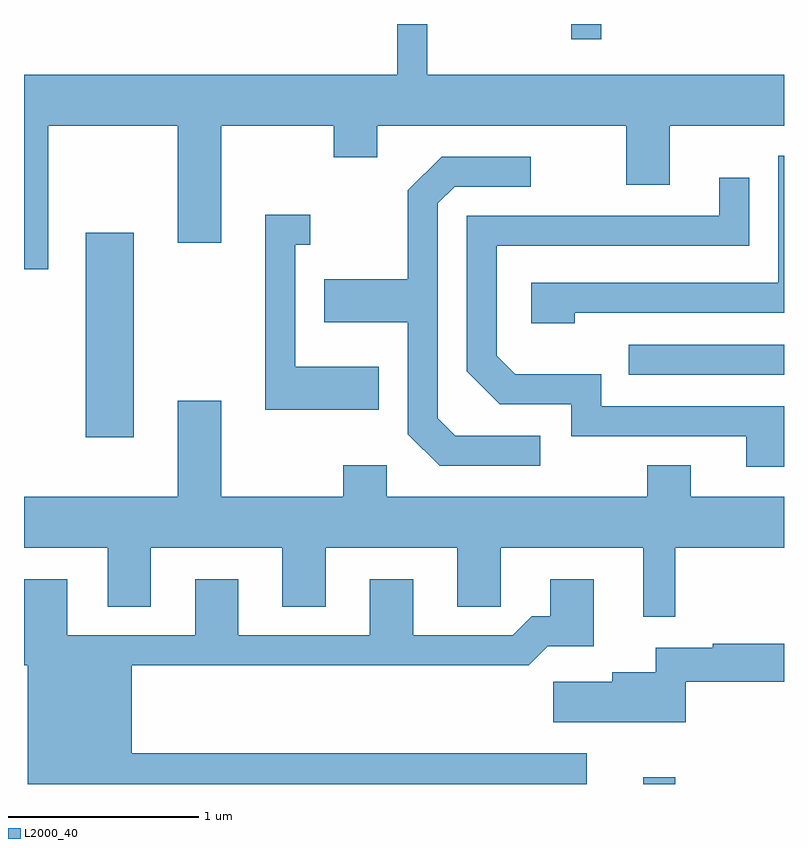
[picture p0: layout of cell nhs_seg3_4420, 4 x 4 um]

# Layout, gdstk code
import gdstk
lib = gdstk.Library(unit=1e-6, precision=1e-09)
def R(c, l, rs):  # rectangles x0, y0, x1, y1
    for r in rs: c.add(gdstk.rectangle(r[:2], r[2:], *l))
def P(c, l, *ps):  # polygons
    for p in ps: c.add(gdstk.Polygon(p, *l))
L2000_40 = (2000, 40)

nhs_seg3_4420 = lib.new_cell('nhs_seg3_4420')
R(nhs_seg3_4420, L2000_40, [(318.871,1115.892,319.039,1115.928), (315.936,1117.716,316.189,1118.794), (318.793,1118.046,319.611,1118.204), (318.491,1119.813,318.649,1119.892)])
P(nhs_seg3_4420, L2000_40, [(315.739,1119.356),(316.421,1119.356),(316.421,1118.741),(316.649,1118.741),(316.649,1119.356),(317.241,1119.356),(317.241,1119.191),(317.469,1119.191),(317.469,1119.356),(318.781,1119.356),(318.781,1119.046),(319.009,1119.046),(319.009,1119.356),(319.611,1119.356),(319.611,1119.624),(317.734,1119.624),(317.734,1119.892),(317.576,1119.892),(317.576,1119.624),(315.611,1119.624),(315.611,1118.601),(315.739,1118.601)],
  [(318.509,1118.371),(319.611,1118.371),(319.611,1119.199),(319.581,1119.199),(319.581,1118.529),(318.281,1118.529),(318.281,1118.316),(318.509,1118.316)],
  [(318.328,1117.724),(317.882,1117.724),(317.789,1117.817),(317.789,1118.949),(317.877,1119.036),(318.278,1119.036),(318.278,1119.194),(317.809,1119.194),(317.631,1119.017),(317.631,1118.549),(317.191,1118.549),(317.191,1118.321),(317.631,1118.321),(317.631,1117.734),(317.799,1117.566),(318.328,1117.566)],
  [(319.611,1117.879),(318.649,1117.879),(318.649,1118.049),(318.197,1118.049),(318.099,1118.147),(318.099,1118.726),(319.429,1118.726),(319.429,1119.083),(319.271,1119.083),(319.271,1118.884),(317.941,1118.884),(317.941,1118.064),(318.114,1117.891),(318.491,1117.891),(318.491,1117.721),(319.411,1117.721),(319.411,1117.561),(319.611,1117.561)],
  [(317.479,1118.089),(317.039,1118.089),(317.039,1118.731),(317.118,1118.731),(317.118,1118.889),(316.881,1118.889),(316.881,1117.861),(317.479,1117.861)],
  [(319.039,1117.136),(319.611,1117.136),(319.611,1117.404),(319.119,1117.404),(319.119,1117.569),(318.891,1117.569),(318.891,1117.404),(317.519,1117.404),(317.519,1117.569),(317.291,1117.569),(317.291,1117.404),(316.649,1117.404),(316.649,1117.909),(316.421,1117.909),(316.421,1117.404),(315.611,1117.404),(315.611,1117.136),(316.051,1117.136),(316.051,1116.826),(316.279,1116.826),(316.279,1117.136),(316.971,1117.136),(316.971,1116.826),(317.199,1116.826),(317.199,1117.136),(317.891,1117.136),(317.891,1116.826),(318.119,1116.826),(318.119,1117.136),(318.871,1117.136),(318.871,1116.773),(319.039,1116.773)],
  [(318.574,1116.054),(316.179,1116.054),(316.179,1116.516),(318.267,1116.516),(318.367,1116.616),(318.609,1116.616),(318.609,1116.969),(318.381,1116.969),(318.381,1116.774),(318.284,1116.774),(318.184,1116.674),(317.659,1116.674),(317.659,1116.969),(317.431,1116.969),(317.431,1116.674),(316.739,1116.674),(316.739,1116.969),(316.511,1116.969),(316.511,1116.674),(315.839,1116.674),(315.839,1116.969),(315.611,1116.969),(315.611,1116.516),(315.631,1116.516),(315.631,1115.892),(318.574,1115.892)],
  [(319.094,1116.431),(319.611,1116.431),(319.611,1116.629),(319.236,1116.629),(319.236,1116.609),(318.936,1116.609),(318.936,1116.479),(318.706,1116.479),(318.706,1116.429),(318.396,1116.429),(318.396,1116.216),(319.094,1116.216)])

lib.write_gds('nhs_seg3_4420.gds')
